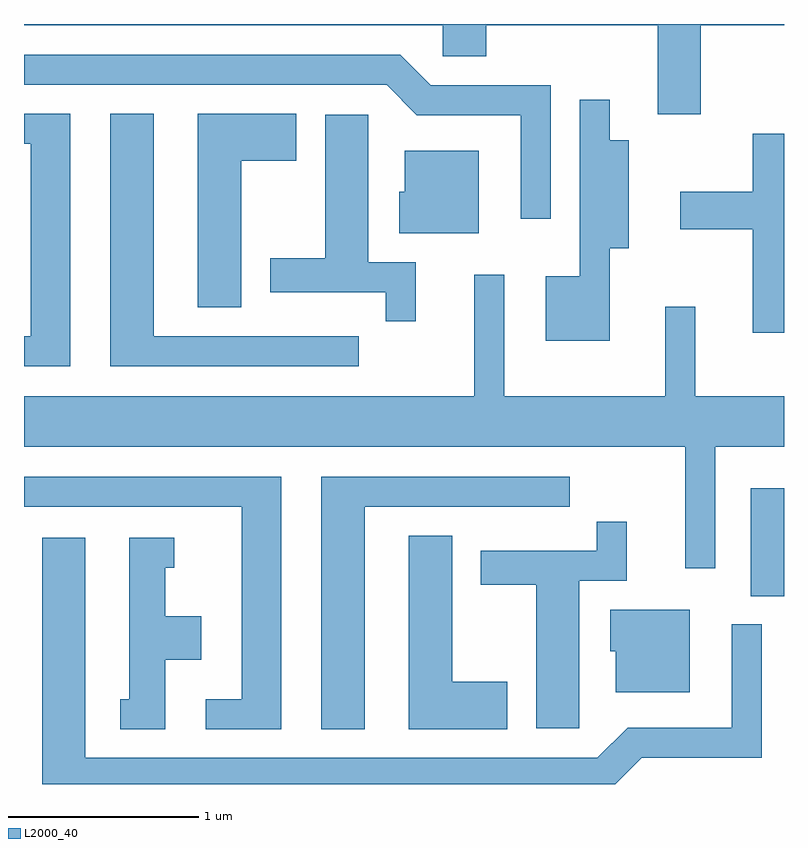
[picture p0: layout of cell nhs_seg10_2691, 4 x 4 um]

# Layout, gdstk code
import gdstk
lib = gdstk.Library(unit=1e-6, precision=1e-09)
def R(c, l, rs):  # rectangles x0, y0, x1, y1
    for r in rs: c.add(gdstk.rectangle(r[:2], r[2:], *l))
def P(c, l, *ps):  # polygons
    for p in ps: c.add(gdstk.Polygon(p, *l))
L2000_40 = (2000, 40)

nhs_seg10_2691 = lib.new_cell('nhs_seg10_2691')
R(nhs_seg10_2691, L2000_40, [(267.436,2177.511,267.611,2178.079)])
P(nhs_seg10_2691, L2000_40, [(267.174,2180.516),(267.611,2180.516),(267.611,2180.522),(263.611,2180.522),(263.611,2180.516),(265.816,2180.516),(265.816,2180.351),(266.044,2180.351),(266.044,2180.516),(266.946,2180.516),(266.946,2180.046),(267.174,2180.046)],
  [(266.384,2180.199),(265.752,2180.199),(265.592,2180.359),(263.611,2180.359),(263.611,2180.201),(265.519,2180.201),(265.679,2180.041),(266.226,2180.041),(266.226,2179.498),(266.384,2179.498)],
  [(266.694,2179.341),(266.794,2179.341),(266.794,2179.909),(266.694,2179.909),(266.694,2180.123),(266.536,2180.123),(266.536,2179.194),(266.356,2179.194),(266.356,2178.856),(266.694,2178.856)],
  [(263.854,2180.049),(263.611,2180.049),(263.611,2179.891),(263.646,2179.891),(263.646,2178.879),(263.611,2178.879),(263.611,2178.721),(263.854,2178.721)],
  [(264.754,2179.801),(265.044,2179.801),(265.044,2180.049),(264.526,2180.049),(264.526,2179.031),(264.754,2179.031)],
  [(265.373,2178.879),(264.294,2178.879),(264.294,2180.049),(264.066,2180.049),(264.066,2178.721),(265.373,2178.721)],
  [(265.674,2179.269),(265.424,2179.269),(265.424,2180.044),(265.196,2180.044),(265.196,2179.289),(264.906,2179.289),(264.906,2179.111),(265.516,2179.111),(265.516,2178.958),(265.674,2178.958)],
  [(267.611,2179.944),(267.446,2179.944),(267.446,2179.639),(267.066,2179.639),(267.066,2179.441),(267.446,2179.441),(267.446,2178.896),(267.611,2178.896)],
  [(266.004,2179.854),(265.616,2179.854),(265.616,2179.639),(265.586,2179.639),(265.586,2179.421),(266.004,2179.421)],
  [(267.249,2178.296),(267.611,2178.296),(267.611,2178.564),(267.144,2178.564),(267.144,2179.033),(266.986,2179.033),(266.986,2178.564),(266.139,2178.564),(266.139,2179.203),(265.981,2179.203),(265.981,2178.564),(263.611,2178.564),(263.611,2178.296),(267.091,2178.296),(267.091,2177.658),(267.249,2177.658)],
  [(265.404,2177.981),(266.483,2177.981),(266.483,2178.139),(265.176,2178.139),(265.176,2176.811),(265.404,2176.811)],
  [(264.964,2178.139),(263.611,2178.139),(263.611,2177.981),(264.756,2177.981),(264.756,2176.969),(264.568,2176.969),(264.568,2176.811),(264.964,2176.811)],
  [(266.534,2177.591),(266.784,2177.591),(266.784,2177.903),(266.626,2177.903),(266.626,2177.749),(266.016,2177.749),(266.016,2177.571),(266.306,2177.571),(266.306,2176.816),(266.534,2176.816)],
  [(266.154,2177.059),(265.864,2177.059),(265.864,2177.829),(265.636,2177.829),(265.636,2176.811),(266.154,2176.811)],
  [(266.862,2176.661),(267.494,2176.661),(267.494,2177.363),(267.336,2177.363),(267.336,2176.819),(266.789,2176.819),(266.629,2176.659),(263.934,2176.659),(263.934,2177.819),(263.706,2177.819),(263.706,2176.522),(266.723,2176.522)],
  [(264.354,2177.176),(264.544,2177.176),(264.544,2177.404),(264.354,2177.404),(264.354,2177.661),(264.403,2177.661),(264.403,2177.819),(264.166,2177.819),(264.166,2176.969),(264.118,2176.969),(264.118,2176.811),(264.354,2176.811)],
  [(267.114,2177.439),(266.696,2177.439),(266.696,2177.221),(266.726,2177.221),(266.726,2177.006),(267.114,2177.006)])

lib.write_gds('nhs_seg10_2691.gds')
